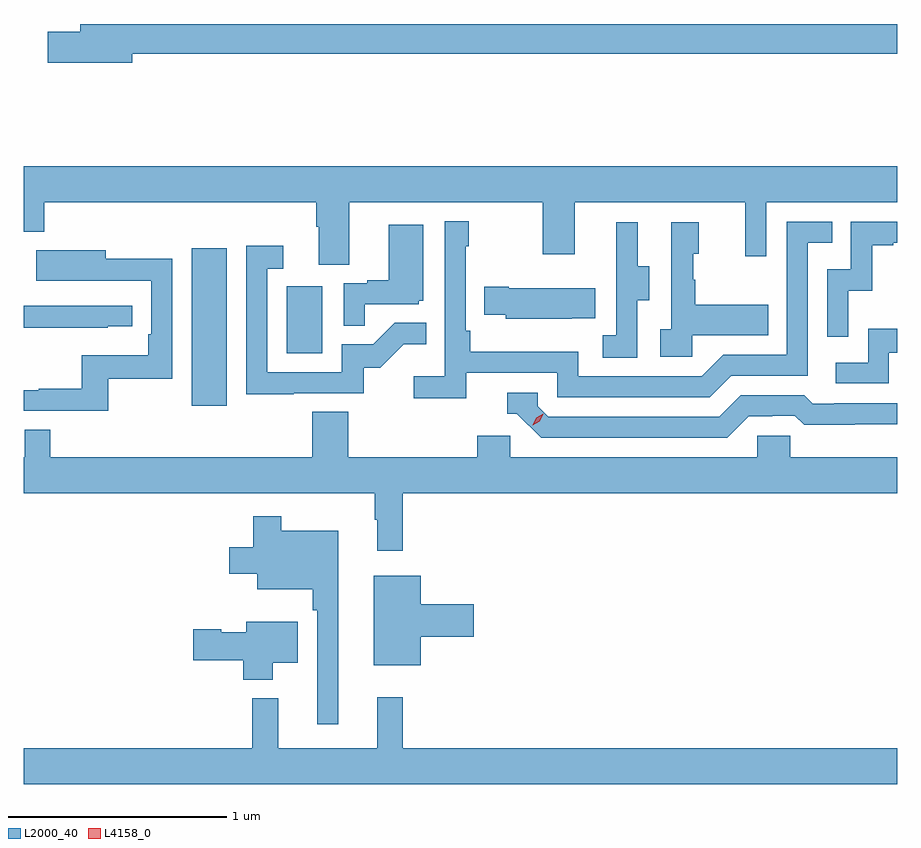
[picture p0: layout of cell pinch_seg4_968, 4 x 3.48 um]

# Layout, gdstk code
import gdstk
lib = gdstk.Library(unit=1e-6, precision=1e-09)
def R(c, l, rs):  # rectangles x0, y0, x1, y1
    for r in rs: c.add(gdstk.rectangle(r[:2], r[2:], *l))
def P(c, l, *ps):  # polygons
    for p in ps: c.add(gdstk.Polygon(p, *l))
L2000_40 = (2000, 40)
L4158_0 = (4158, 0)

pinch_seg4_968 = lib.new_cell('pinch_seg4_968')
R(pinch_seg4_968, L2000_40, [(866.627,786.564,866.788,787.285), (867.062,786.804,867.226,787.111)])
P(pinch_seg4_968, L2000_40, [(866.356,788.176),(869.858,788.176),(869.858,788.312),(866.117,788.312),(866.117,788.276),(865.968,788.276),(865.968,788.134),(866.356,788.134)],
  [(867.349,787.496),(868.234,787.496),(868.234,787.257),(868.381,787.257),(868.381,787.496),(869.162,787.496),(869.162,787.248),(869.259,787.248),(869.259,787.496),(869.858,787.496),(869.858,787.66),(865.858,787.66),(865.858,787.361),(865.952,787.361),(865.952,787.496),(867.197,787.496),(867.197,787.384),(867.209,787.384),(867.209,787.21),(867.349,787.21)],
  [(867.884,786.714),(868.302,786.714),(868.302,786.603),(868.999,786.603),(869.098,786.702),(869.448,786.702),(869.448,787.311),(869.561,787.311),(869.561,787.407),(869.352,787.407),(869.352,786.798),(869.061,786.798),(868.962,786.699),(868.398,786.699),(868.398,786.811),(867.902,786.811),(867.902,786.907),(867.882,786.907),(867.882,787.295),(867.895,787.295),(867.895,787.408),(867.786,787.408),(867.786,786.7),(867.645,786.7),(867.645,786.598),(867.884,786.598)],
  [(869.634,787.091),(869.744,787.091),(869.744,787.299),(869.839,787.299),(869.839,787.311),(869.858,787.311),(869.858,787.407),(869.646,787.407),(869.646,787.188),(869.538,787.188),(869.538,786.879),(869.634,786.879)],
  [(868.92,786.887),(869.267,786.887),(869.267,787.027),(868.933,787.027),(868.933,787.142),(868.923,787.142),(868.923,787.26),(868.948,787.26),(868.948,787.405),(868.824,787.405),(868.824,786.914),(868.773,786.914),(868.773,786.789),(868.92,786.789)],
  [(868.668,787.048),(868.723,787.048),(868.723,787.203),(868.669,787.203),(868.669,787.405),(868.571,787.405),(868.571,787.191),(868.572,787.191),(868.572,786.887),(868.509,786.887),(868.509,786.784),(868.668,786.784)],
  [(867.419,787.029),(867.666,787.029),(867.666,787.044),(867.688,787.044),(867.688,787.393),(867.53,787.393),(867.53,787.138),(867.431,787.138),(867.431,787.125),(867.324,787.125),(867.324,786.931),(867.419,786.931)],
  [(867.095,786.621),(867.414,786.621),(867.414,786.738),(867.49,786.738),(867.597,786.845),(867.701,786.845),(867.701,786.944),(867.557,786.944),(867.459,786.846),(867.315,786.846),(867.315,786.717),(866.973,786.717),(866.973,787.191),(867.046,787.191),(867.046,787.297),(866.877,787.297),(866.877,786.616),(867.095,786.616)],
  [(866.245,786.687),(866.538,786.687),(866.538,787.238),(866.233,787.238),(866.233,787.276),(865.915,787.276),(865.915,787.136),(866.129,787.136),(866.129,787.137),(866.442,787.137),(866.442,786.892),(866.429,786.892),(866.429,786.796),(866.124,786.796),(866.124,786.641),(865.927,786.641),(865.927,786.636),(865.858,786.636),(865.858,786.54),(866.245,786.54)],
  [(868.367,786.965),(868.475,786.965),(868.475,787.102),(868.078,787.102),(868.078,787.11),(867.967,787.11),(867.967,786.98),(868.065,786.98),(868.065,786.962),(868.367,786.962)],
  [(866.243,786.927),(866.356,786.927),(866.356,787.023),(865.858,787.023),(865.858,786.922),(866.243,786.922)],
  [(869.82,786.807),(869.858,786.807),(869.858,786.916),(869.724,786.916),(869.724,786.762),(869.577,786.762),(869.577,786.666),(869.82,786.666)],
  [(869.179,786.516),(869.286,786.516),(869.286,786.519),(869.389,786.519),(869.431,786.477),(869.664,786.477),(869.664,786.479),(869.858,786.479),(869.858,786.576),(869.569,786.576),(869.569,786.573),(869.47,786.573),(869.431,786.612),(869.142,786.612),(869.043,786.513),(868.26,786.513),(868.212,786.561),(868.212,786.624),(868.073,786.624),(868.073,786.528),(868.116,786.528),(868.227,786.417),(869.08,786.417)],
  [(867.593,786.164),(869.858,786.164),(869.858,786.328),(869.367,786.328),(869.367,786.426),(869.217,786.426),(869.217,786.328),(868.086,786.328),(868.086,786.426),(867.935,786.426),(867.935,786.328),(867.344,786.328),(867.344,786.536),(867.179,786.536),(867.179,786.328),(865.979,786.328),(865.979,786.455),(865.863,786.455),(865.863,786.328),(865.858,786.328),(865.858,786.164),(867.465,786.164),(867.465,786.041),(867.476,786.041),(867.476,785.901),(867.593,785.901)],
  [(867.298,785.992),(867.037,785.992),(867.037,786.058),(866.908,786.058),(866.908,785.917),(866.799,785.917),(866.799,785.795),(866.927,785.795),(866.927,785.723),(867.181,785.723),(867.181,785.627),(867.201,785.627),(867.201,785.106),(867.298,785.106)],
  [(867.676,785.507),(867.919,785.507),(867.919,785.654),(867.676,785.654),(867.676,785.785),(867.461,785.785),(867.461,785.375),(867.676,785.375)],
  [(866.998,785.387),(867.112,785.387),(867.112,785.575),(866.876,785.575),(866.876,785.527),(866.763,785.527),(866.763,785.54),(866.634,785.54),(866.634,785.398),(866.864,785.398),(866.864,785.309),(866.998,785.309)],
  [(869.858,784.996),(867.593,784.996),(867.593,785.23),(867.476,785.23),(867.476,784.996),(867.023,784.996),(867.023,785.224),(866.905,785.224),(866.905,784.996),(865.858,784.996),(865.858,784.832),(869.858,784.832)])
P(pinch_seg4_968, L4158_0, [(868.189,786.475),(868.189,786.475),(868.205,786.508),(868.236,786.527),(868.236,786.527),(868.236,786.526),(868.22,786.494),(868.189,786.475)])

lib.write_gds('pinch_seg4_968.gds')
